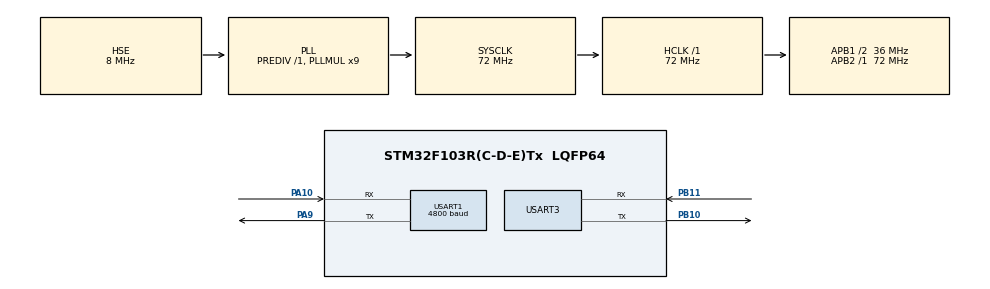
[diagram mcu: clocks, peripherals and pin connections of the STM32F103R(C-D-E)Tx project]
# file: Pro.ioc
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Dma.Request0=USART1_RX
Dma.USART1_RX.0.Direction=DMA_PERIPH_TO_MEMORY
Dma.USART1_RX.0.Instance=DMA1_Channel5
Dma.USART1_RX.0.MemDataAlignment=DMA_MDATAALIGN_BYTE
Dma.USART1_RX.0.MemInc=DMA_MINC_ENABLE
Dma.USART1_RX.0.Mode=DMA_NORMAL
Dma.USART1_RX.0.PeriphDataAlignment=DMA_PDATAALIGN_BYTE
Dma.USART1_RX.0.PeriphInc=DMA_PINC_DISABLE
Dma.USART1_RX.0.Priority=DMA_PRIORITY_LOW
FREERTOS.Tasks01=defaultTask,0,128,StartDefaultTask,Default,NULL
Mcu.Family=STM32F1
Mcu.Name=STM32F103R(C-D-E)Tx
Mcu.Package=LQFP64
NVIC.DMA1_Channel5_IRQn=true\:5\:0\:false\:false\:true\:true\:false
NVIC.PriorityGroup=NVIC_PRIORITYGROUP_4
NVIC.TIM1_UP_IRQn=true\:0\:0\:false\:false\:true\:false\:false
NVIC.TimeBase=TIM1_UP_IRQn
NVIC.TimeBaseIP=TIM1
NVIC.USART1_IRQn=true\:5\:0\:false\:false\:true\:true\:true
NVIC.USART3_IRQn=true\:5\:0\:false\:false\:true\:true\:true
PA10.Mode=Asynchronous
PA10.Signal=USART1_RX
PA13.Mode=Serial_Wire
PA13.Signal=SYS_JTMS-SWDIO
PA14.Mode=Serial_Wire
PA14.Signal=SYS_JTCK-SWCLK
PA9.Mode=Asynchronous
PA9.Signal=USART1_TX
PB10.Mode=Asynchronous
PB10.Signal=USART3_TX
PB11.Mode=Asynchronous
PB11.Signal=USART3_RX
PD0-OSC_IN.Mode=HSE-External-Oscillator
PD0-OSC_IN.Signal=RCC_OSC_IN
PD1-OSC_OUT.Mode=HSE-External-Oscillator
PD1-OSC_OUT.Signal=RCC_OSC_OUT
ProjectManager.HeapSize=0x200
ProjectManager.StackSize=0x400
ProjectManager.TargetToolchain=MDK-ARM V5
RCC.AHBFreq_Value=72000000
RCC.APB1CLKDivider=RCC_HCLK_DIV2
RCC.APB1Freq_Value=36000000
RCC.APB1TimFreq_Value=72000000
RCC.APB2Freq_Value=72000000
RCC.APB2TimFreq_Value=72000000
RCC.HCLKFreq_Value=72000000
RCC.PLLMUL=RCC_PLL_MUL9
RCC.PLLSourceVirtual=RCC_PLLSOURCE_HSE
RCC.SYSCLKFreq_VALUE=72000000
RCC.SYSCLKSource=RCC_SYSCLKSOURCE_PLLCLK
RCC.USBFreq_Value=72000000
USART1.BaudRate=4800
USART1.Parity=PARITY_EVEN
USART1.VirtualMode=VM_ASYNC
USART1.WordLength=WORDLENGTH_9B
USART3.VirtualMode=VM_ASYNC
VP_FREERTOS_VS_ENABLE.Mode=Enabled
VP_SYS_VS_tim1.Mode=TIM1
board=custom

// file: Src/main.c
/**
  ******************************************************************************
  * @file           : main.c
  * @brief          : Main program body
  ******************************************************************************
  * This notice applies to any and all portions of this file
  * that are not between comment pairs USER CODE BEGIN and
  * USER CODE END. Other portions of this file, whether
  * inserted by the user or by software development tools
  * are owned by their respective copyright owners.
  *
  * Copyright (c) 2018 STMicroelectronics International N.V.
  * All rights reserved.
  *
  * Redistribution and use in source and binary forms, with or without
  * modification, are permitted, provided that the following conditions are met:
  *
  * 1. Redistribution of source code must retain the above copyright notice,
  *    this list of conditions and the following disclaimer.
  * 2. Redistributions in binary form must reproduce the above copyright notice,
  *    this list of conditions and the following disclaimer in the documentation
  *    and/or other materials provided with the distribution.
  * 3. Neither the name of STMicroelectronics nor the names of other
  *    contributors to this software may be used to endorse or promote products
  *    derived from this software without specific written permission.
  * 4. This software, including modifications and/or derivative works of this
  *    software, must execute solely and exclusively on microcontroller or
  *    microprocessor devices manufactured by or for STMicroelectronics.
  * 5. Redistribution and use of this software other than as permitted under
  *    this license is void and will automatically terminate your rights under
  *    this license.
  *
  * THIS SOFTWARE IS PROVIDED BY STMICROELECTRONICS AND CONTRIBUTORS "AS IS"
  * AND ANY EXPRESS, IMPLIED OR STATUTORY WARRANTIES, INCLUDING, BUT NOT
  * LIMITED TO, THE IMPLIED WARRANTIES OF MERCHANTABILITY, FITNESS FOR A
  * PARTICULAR PURPOSE AND NON-INFRINGEMENT OF THIRD PARTY INTELLECTUAL PROPERTY
  * RIGHTS ARE DISCLAIMED TO THE FULLEST EXTENT PERMITTED BY LAW. IN NO EVENT
  * SHALL STMICROELECTRONICS OR CONTRIBUTORS BE LIABLE FOR ANY DIRECT, INDIRECT,
  * INCIDENTAL, SPECIAL, EXEMPLARY, OR CONSEQUENTIAL DAMAGES (INCLUDING, BUT NOT
  * LIMITED TO, PROCUREMENT OF SUBSTITUTE GOODS OR SERVICES; LOSS OF USE, DATA,
  * OR PROFITS; OR BUSINESS INTERRUPTION) HOWEVER CAUSED AND ON ANY THEORY OF
  * LIABILITY, WHETHER IN CONTRACT, STRICT LIABILITY, OR TORT (INCLUDING
  * NEGLIGENCE OR OTHERWISE) ARISING IN ANY WAY OUT OF THE USE OF THIS SOFTWARE,
  * EVEN IF ADVISED OF THE POSSIBILITY OF SUCH DAMAGE.
  *
  ******************************************************************************
  */
#include "main.h"
#include "stm32f1xx_hal.h"
#include "cmsis_os.h"
#include "dma.h"
#include "usart.h"
#include "gpio.h"

/* USER CODE BEGIN Includes */
#include "stdio.h"
/* USER CODE END Includes */

/* USER CODE BEGIN PV */
/* Private variables ---------------------------------------------------------*/
uint8_t ReceiveBuff[RXBUFFERSIZE] = {0};
uint8_t ReceiveInfo[RXBUFFERSIZE] = {0};
uint8_t Rx_BufferLen;
uint8_t Rx_InfoLen;

/* USER CODE END PV */

void SystemClock_Config(void);
void MX_FREERTOS_Init(void);

/* USER CODE BEGIN PFP */
/* Private function prototypes -----------------------------------------------*/

/* USER CODE END PFP */

/* USER CODE BEGIN 0 */

/* printf 函数从定向到usart3中 */
int fputc(int ch, FILE *f)
{
  HAL_UART_Transmit(&huart3,(uint8_t*)&ch,1,0x02);
  return ch;
}
/* USER CODE END 0 */

int main(void)
{

  /* MCU Configuration----------------------------------------------------------*/

  /* Reset of all peripherals, Initializes the Flash interface and the Systick. */
  HAL_Init();

  /* Configure the system clock */
  SystemClock_Config();

  /* Initialize all configured peripherals */
  MX_GPIO_Init();
  MX_DMA_Init();
  MX_USART1_UART_Init();
  MX_USART3_UART_Init();
  /* USER CODE BEGIN 2 */
  __HAL_UART_ENABLE_IT(&huart1,UART_IT_IDLE);
  HAL_UART_Receive_DMA(&huart1,(uint8_t*)ReceiveBuff,RXBUFFERSIZE);
  /* USER CODE END 2 */

  /* Call init function for freertos objects (in freertos.c) */
  MX_FREERTOS_Init();

  /* Start scheduler */
  osKernelStart();

  /* We should never get here as control is now taken by the scheduler */

  /* Infinite loop */
  while (1)
  {

  }

}

void SystemClock_Config(void)
{

  RCC_OscInitTypeDef RCC_OscInitStruct;
  RCC_ClkInitTypeDef RCC_ClkInitStruct;

    /**Initializes the CPU, AHB and APB busses clocks
    */
  RCC_OscInitStruct.OscillatorType = RCC_OSCILLATORTYPE_HSE;
  RCC_OscInitStruct.HSEState = RCC_HSE_ON;
  RCC_OscInitStruct.HSEPredivValue = RCC_HSE_PREDIV_DIV1;
  RCC_OscInitStruct.HSIState = RCC_HSI_ON;
  RCC_OscInitStruct.PLL.PLLState = RCC_PLL_ON;
  RCC_OscInitStruct.PLL.PLLSource = RCC_PLLSOURCE_HSE;
  RCC_OscInitStruct.PLL.PLLMUL = RCC_PLL_MUL9;
  if (HAL_RCC_OscConfig(&RCC_OscInitStruct) != HAL_OK)
  {
    _Error_Handler(__FILE__, __LINE__);
  }

    /**Initializes the CPU, AHB and APB busses clocks
    */
  RCC_ClkInitStruct.ClockType = RCC_CLOCKTYPE_HCLK|RCC_CLOCKTYPE_SYSCLK
                              |RCC_CLOCKTYPE_PCLK1|RCC_CLOCKTYPE_PCLK2;
  RCC_ClkInitStruct.SYSCLKSource = RCC_SYSCLKSOURCE_PLLCLK;
  RCC_ClkInitStruct.AHBCLKDivider = RCC_SYSCLK_DIV1;
  RCC_ClkInitStruct.APB1CLKDivider = RCC_HCLK_DIV2;
  RCC_ClkInitStruct.APB2CLKDivider = RCC_HCLK_DIV1;

  if (HAL_RCC_ClockConfig(&RCC_ClkInitStruct, FLASH_LATENCY_2) != HAL_OK)
  {
    _Error_Handler(__FILE__, __LINE__);
  }

    /**Configure the Systick interrupt time
    */
  HAL_SYSTICK_Config(HAL_RCC_GetHCLKFreq()/1000);

    /**Configure the Systick
    */
  HAL_SYSTICK_CLKSourceConfig(SYSTICK_CLKSOURCE_HCLK);

  /* SysTick_IRQn interrupt configuration */
  HAL_NVIC_SetPriority(SysTick_IRQn, 15, 0);
}

void HAL_TIM_PeriodElapsedCallback(TIM_HandleTypeDef *htim)
{
  if (htim->Instance == TIM1) {
    HAL_IncTick();
  }
}

void _Error_Handler(char *file, int line)
{
  while(1)
  {
  }
}

/************************ (C) COPYRIGHT STMicroelectronics *****END OF FILE****/

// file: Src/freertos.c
/**
  ******************************************************************************
  * File Name          : freertos.c
  * Description        : Code for freertos applications
  ******************************************************************************
  * This notice applies to any and all portions of this file
  * that are not between comment pairs USER CODE BEGIN and
  * USER CODE END. Other portions of this file, whether
  * inserted by the user or by software development tools
  * are owned by their respective copyright owners.
  *
  * Copyright (c) 2018 STMicroelectronics International N.V.
  * All rights reserved.
  *
  * Redistribution and use in source and binary forms, with or without
  * modification, are permitted, provided that the following conditions are met:
  *
  * 1. Redistribution of source code must retain the above copyright notice,
  *    this list of conditions and the following disclaimer.
  * 2. Redistributions in binary form must reproduce the above copyright notice,
  *    this list of conditions and the following disclaimer in the documentation
  *    and/or other materials provided with the distribution.
  * 3. Neither the name of STMicroelectronics nor the names of other
  *    contributors to this software may be used to endorse or promote products
  *    derived from this software without specific written permission.
  * 4. This software, including modifications and/or derivative works of this
  *    software, must execute solely and exclusively on microcontroller or
  *    microprocessor devices manufactured by or for STMicroelectronics.
  * 5. Redistribution and use of this software other than as permitted under
  *    this license is void and will automatically terminate your rights under
  *    this license.
  *
  * THIS SOFTWARE IS PROVIDED BY STMICROELECTRONICS AND CONTRIBUTORS "AS IS"
  * AND ANY EXPRESS, IMPLIED OR STATUTORY WARRANTIES, INCLUDING, BUT NOT
  * LIMITED TO, THE IMPLIED WARRANTIES OF MERCHANTABILITY, FITNESS FOR A
  * PARTICULAR PURPOSE AND NON-INFRINGEMENT OF THIRD PARTY INTELLECTUAL PROPERTY
  * RIGHTS ARE DISCLAIMED TO THE FULLEST EXTENT PERMITTED BY LAW. IN NO EVENT
  * SHALL STMICROELECTRONICS OR CONTRIBUTORS BE LIABLE FOR ANY DIRECT, INDIRECT,
  * INCIDENTAL, SPECIAL, EXEMPLARY, OR CONSEQUENTIAL DAMAGES (INCLUDING, BUT NOT
  * LIMITED TO, PROCUREMENT OF SUBSTITUTE GOODS OR SERVICES; LOSS OF USE, DATA,
  * OR PROFITS; OR BUSINESS INTERRUPTION) HOWEVER CAUSED AND ON ANY THEORY OF
  * LIABILITY, WHETHER IN CONTRACT, STRICT LIABILITY, OR TORT (INCLUDING
  * NEGLIGENCE OR OTHERWISE) ARISING IN ANY WAY OUT OF THE USE OF THIS SOFTWARE,
  * EVEN IF ADVISED OF THE POSSIBILITY OF SUCH DAMAGE.
  *
  ******************************************************************************
  */

#include "FreeRTOS.h"
#include "task.h"
#include "cmsis_os.h"

/* USER CODE BEGIN Includes */
#include "stdio.h"
#include "usart.h"
#include "string.h"

unsigned char a = 10;
unsigned char b = 0;

#define IO_Control_Relay(x,y)  IO_Control_##x(y)
#define IO_Control_1(y)    (a = y)
#define IO_Control_2(y)    (a = y + 1)

/* USER CODE END Includes */

osThreadId defaultTaskHandle;

/* USER CODE BEGIN Variables */
osThreadId lpUart1ScanTaskHandle;
xSemaphoreHandle xScanSemaphore;

extern uint8_t ReceiveBuff[RXBUFFERSIZE];
extern uint8_t ReceiveInfo[RXBUFFERSIZE];
extern uint8_t Rx_BufferLen;
extern uint8_t Rx_InfoLen;
/* USER CODE END Variables */

void StartDefaultTask(void const * argument);

void MX_FREERTOS_Init(void); /* (MISRA C 2004 rule 8.1) */

/* USER CODE BEGIN FunctionPrototypes */
void StartlpUart1ScanTask(void const * argument);

/* USER CODE END FunctionPrototypes */

/* Hook prototypes */

/* Init FreeRTOS */

void MX_FREERTOS_Init(void) {

  /* USER CODE BEGIN RTOS_SEMAPHORES */
  /* add semaphores, ... */
  xScanSemaphore = xSemaphoreCreateBinary();
  /* USER CODE END RTOS_SEMAPHORES */

  /* Create the thread(s) */
  /* definition and creation of defaultTask */
  osThreadDef(defaultTask, StartDefaultTask, osPriorityNormal, 0, 128);
  defaultTaskHandle = osThreadCreate(osThread(defaultTask), NULL);

  /* USER CODE BEGIN RTOS_THREADS */
  /* add threads, ... */
  osThreadDef(usartTask, StartlpUart1ScanTask, osPriorityHigh, 0, 128);
  lpUart1ScanTaskHandle = osThreadCreate(osThread(usartTask), NULL);
  /* USER CODE END RTOS_THREADS */

}

/* StartDefaultTask function */
void StartDefaultTask(void const * argument)
{

  /* USER CODE BEGIN StartDefaultTask */
  /* Infinite loop */
  for(;;)
  {
    osDelay(500);
    /*
    printf("Enter Default Task !\r\n");
    IO_Control_Relay(1,b);
    printf("a is %d\r\n",a);
    a = 10;
    IO_Control_Relay(2,b);
    printf("a is %d\r\n",a);
    a = 10;
    b++;
    if(b > 255)
    {
      b = 0;
    }
    */
  }
  /* USER CODE END StartDefaultTask */
}

/* USER CODE BEGIN Application */
void StartlpUart1ScanTask(void const * argument)
{
  uint32_t temp = 0;
  float VoltValue = 0.0;
  float IcurrentValue = 0.0;
  configASSERT(xScanSemaphore);
  xSemaphoreTake(xScanSemaphore,0);
  for(;;)
  {
    xSemaphoreTake(xScanSemaphore,portMAX_DELAY);
    printf("\r\n rx_len = %02d\r\n",Rx_InfoLen);
    HAL_UART_Transmit(&huart3,ReceiveInfo,Rx_InfoLen,0x0F);
    if(0 != Rx_InfoLen)
    {
      printf("\r\n");
      printf("State REG is %X\r\n",ReceiveInfo[0]);
      printf("Check REG is %X\r\n",ReceiveInfo[1]);

      printf("Voltage parameter REG is %X %X %X \r\n",ReceiveInfo[2],ReceiveInfo[3],ReceiveInfo[4]);
      temp = (ReceiveInfo[5]<<16) + (ReceiveInfo[6]<<8) + ReceiveInfo[7];
      printf("Voltage REG is %X %X %X, and Voltage Value is %d\r\n",ReceiveInfo[5],ReceiveInfo[6],ReceiveInfo[7],temp);
      temp = 0;

      printf("Current parameter REG is %X %X %X \r\n",ReceiveInfo[8],ReceiveInfo[9],ReceiveInfo[10]);
      temp = (ReceiveInfo[11]<<16) + (ReceiveInfo[12]<<8) + ReceiveInfo[13];
      printf("Current REG is %X %X %X, and Current Value is %d\r\n",ReceiveInfo[11],ReceiveInfo[12],ReceiveInfo[13],temp);
      temp = 0;

      printf("Power parameter REG is %X %X %X \r\n",ReceiveInfo[14],ReceiveInfo[15],ReceiveInfo[16]);
      temp = (ReceiveInfo[17]<<16) + (ReceiveInfo[18]<<8) + ReceiveInfo[19];
      printf("Power REG is %X %X %X, and Power Value is %d\r\n",ReceiveInfo[17],ReceiveInfo[18],ReceiveInfo[19],temp);
      temp = 0;

      printf("Data Updata REG is %X\r\n",ReceiveInfo[20]);
      printf("PF REG is %X %X\r\n",ReceiveInfo[21],ReceiveInfo[22]);
      printf("CheckSumREG is %X\r\n",ReceiveInfo[23]);
   }
    memset(ReceiveInfo,0x00,Rx_InfoLen);
    Rx_InfoLen = 0;
  }
}
/* USER CODE END Application */

/************************ (C) COPYRIGHT STMicroelectronics *****END OF FILE****/
